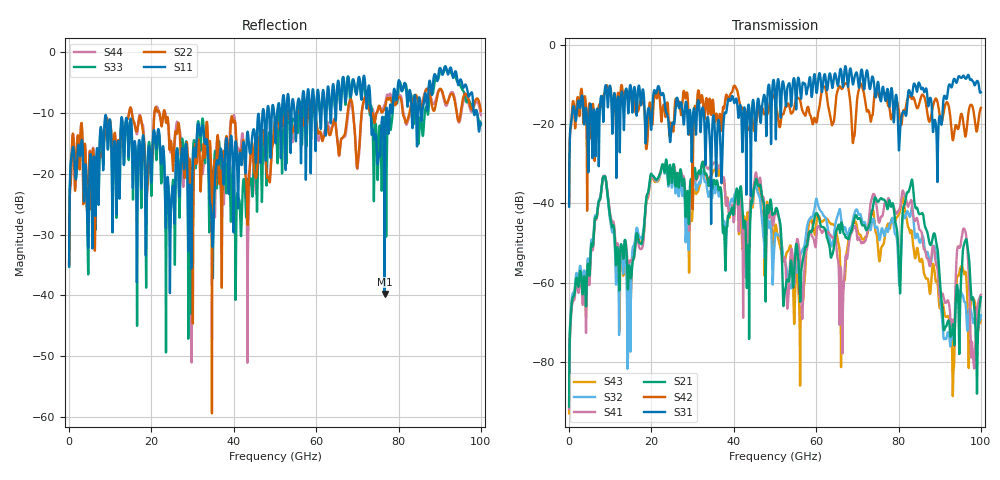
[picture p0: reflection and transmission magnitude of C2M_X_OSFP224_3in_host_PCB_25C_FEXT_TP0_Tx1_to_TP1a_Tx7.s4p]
# GHz S RI R 45
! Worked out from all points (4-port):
!   4000 points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, 25 MHz to 100 GHz, reference 45 ohm
!   strongest paths, dB at 25 MHz, 25.02 GHz, 50.02 GHz, 75.03 GHz, 100 GHz:
!     S31: -40.9, -20.1, -13.8, -9.4, -12.0
!     S42: -40.1, -20.6, -13.9, -12.3, -15.9
!     S21: -91.3, -34.6, -42.3, -39.6, -63.7
!     S41: -91.8, -32.9, -42.0, -43.8, -63.1
!     S32: -89.7, -35.9, -48.5, -46.9, -68.2
!     S43: -93.0, -33.9, -46.2, -51.3, -69.5
!   lowest |S11| = -39.8 dB at 76.6 GHz (marker M1), VSWR 1.02, Z = 44.1 - j0.168 ohm
!   |S11| at or under -10 dB: start of sweep to 46.99 GHz; 73.27 GHz to 76.98 GHz (3.707 GHz wide, 4.93 % of centre); 99.08 GHz to end of sweep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
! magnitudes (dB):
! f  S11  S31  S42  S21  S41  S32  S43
! 25 MHz  -35.2  -40.9  -40.1  -91.3  -91.8  -89.7  -93.0
! 8.525 GHz  -13.6  -14.4  -12.5  -33.2  -33.1  -33.3  -33.2
! 14.6 GHz  -14.8  -12.7  -12.0  -55.7  -54.8  -59.0  -62.9
! 23.23 GHz  -20.4  -14.6  -16.2  -32.3  -31.1  -32.6  -31.3
! 52.35 GHz  -9.2  -11.8  -16.3  -62.5  -53.6  -54.4  -54.2
! 76.6 GHz  -39.8  -12.9  -12.3  -39.2  -40.2  -48.2  -49.0
! 100 GHz  -11.7  -12.0  -15.9  -63.7  -63.1  -68.2  -69.5
